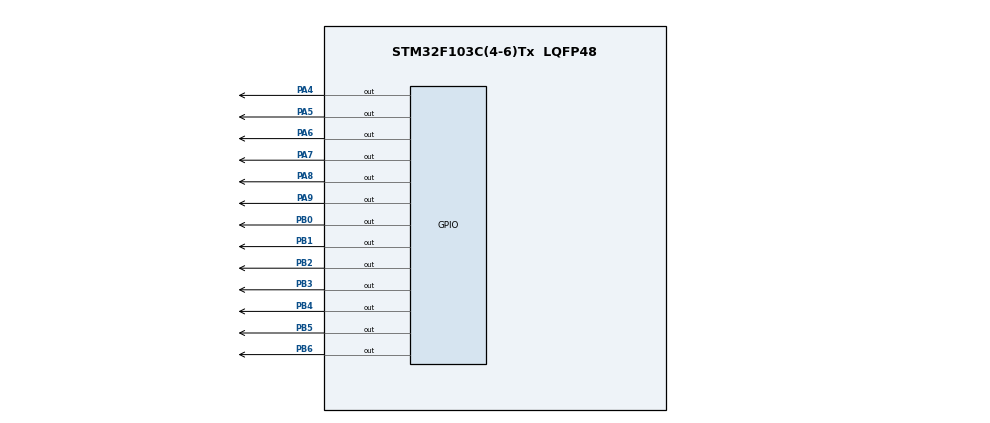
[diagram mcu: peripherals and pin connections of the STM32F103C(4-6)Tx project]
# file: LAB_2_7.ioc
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Mcu.Family=STM32F1
Mcu.Name=STM32F103C(4-6)Tx
Mcu.Package=LQFP48
NVIC.PriorityGroup=NVIC_PRIORITYGROUP_4
NVIC.TIM2_IRQn=true\:0\:0\:false\:false\:true\:true\:true
PA4.Signal=GPIO_Output
PA5.Signal=GPIO_Output
PA6.PinState=GPIO_PIN_SET
PA6.Signal=GPIO_Output
PA7.PinState=GPIO_PIN_SET
PA7.Signal=GPIO_Output
PA8.PinState=GPIO_PIN_SET
PA8.Signal=GPIO_Output
PA9.PinState=GPIO_PIN_SET
PA9.Signal=GPIO_Output
PB0.Signal=GPIO_Output
PB1.Signal=GPIO_Output
PB2.Signal=GPIO_Output
PB3.Signal=GPIO_Output
PB4.Signal=GPIO_Output
PB5.Signal=GPIO_Output
PB6.Signal=GPIO_Output
ProjectManager.HeapSize=0x200
ProjectManager.StackSize=0x400
ProjectManager.TargetToolchain=STM32CubeIDE
RCC.APB1Freq_Value=8000000
RCC.APB2Freq_Value=8000000
TIM2.Period=9
TIM2.Prescaler=7999
VP_SYS_VS_ND.Mode=No_Debug
VP_TIM2_VS_ClockSourceINT.Mode=Internal
board=custom

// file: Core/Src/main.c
/* USER CODE BEGIN Header */
/**
  ******************************************************************************
  * @file           : main.c
  * @brief          : Main program body for Lab 2 - Exercise 7
  ******************************************************************************
  */
/* USER CODE END Header */
#include "main.h"
#include "stm32f1xx_hal_tim.h"

TIM_HandleTypeDef htim2;

/* USER CODE BEGIN PV */
// Digital Clock Variables
int hour = 15;
int minute = 8;
int second = 50;

// Display Variables
const int MAX_LED = 4;
int index_led = 0;
int led_buffer[4] = {1, 5, 0, 8};

// Software Timer Variables
int timer0_counter = 0;
int timer0_flag = 0;
int TIMER_CYCLE = 10; // Hardware timer interrupt period (10ms)
/* USER CODE END PV */

void SystemClock_Config(void);
static void MX_GPIO_Init(void);
static void MX_TIM2_Init(void);

/* USER CODE BEGIN 0 */
// === Software Timer Functions ===
void setTimer0(int duration){
    timer0_counter = duration / TIMER_CYCLE;
    timer0_flag = 0;
}

void timer_run(){
    if(timer0_counter > 0){
        timer0_counter--;
        if(timer0_counter == 0) {
            timer0_flag = 1;
        }
    }
}
// ================================

void display7SEG(int num) {
    uint8_t segmentMap[10] = {0x40, 0x79, 0x24, 0x30, 0x19, 0x12, 0x02, 0x78, 0x00, 0x10};
    if (num < 0 || num > 9) return;
    uint8_t val = segmentMap[num];

    HAL_GPIO_WritePin(GPIOB, GPIO_PIN_0, (val >> 0) & 0x01);
    HAL_GPIO_WritePin(GPIOB, GPIO_PIN_1, (val >> 1) & 0x01);
    HAL_GPIO_WritePin(GPIOB, GPIO_PIN_2, (val >> 2) & 0x01);
    HAL_GPIO_WritePin(GPIOB, GPIO_PIN_3, (val >> 3) & 0x01);
    HAL_GPIO_WritePin(GPIOB, GPIO_PIN_4, (val >> 4) & 0x01);
    HAL_GPIO_WritePin(GPIOB, GPIO_PIN_5, (val >> 5) & 0x01);
    HAL_GPIO_WritePin(GPIOB, GPIO_PIN_6, (val >> 6) & 0x01);
}

void update7SEG(int index) {
    // Turn OFF all Enable pins first to prevent ghosting (PA6 to PA9 High)
    HAL_GPIO_WritePin(GPIOA, GPIO_PIN_6 | GPIO_PIN_7 | GPIO_PIN_8 | GPIO_PIN_9, GPIO_PIN_SET);

    // Output the data and turn ON the specific transistor (Low)
    switch (index) {
        case 0:
            display7SEG(led_buffer[0]);
            HAL_GPIO_WritePin(GPIOA, GPIO_PIN_6, GPIO_PIN_RESET);
            break;
        case 1:
            display7SEG(led_buffer[1]);
            HAL_GPIO_WritePin(GPIOA, GPIO_PIN_7, GPIO_PIN_RESET);
            break;
        case 2:
            display7SEG(led_buffer[2]);
            HAL_GPIO_WritePin(GPIOA, GPIO_PIN_8, GPIO_PIN_RESET);
            break;
        case 3:
            display7SEG(led_buffer[3]);
            HAL_GPIO_WritePin(GPIOA, GPIO_PIN_9, GPIO_PIN_RESET);
            break;
    }
}

void updateClockBuffer() {
    led_buffer[0] = hour / 10;
    led_buffer[1] = hour % 10;
    led_buffer[2] = minute / 10;
    led_buffer[3] = minute % 10;
}
/* USER CODE END 0 */

int main(void)
{
  HAL_Init();
  SystemClock_Config();
  MX_GPIO_Init();
  MX_TIM2_Init();

  /* USER CODE BEGIN 2 */
  HAL_TIM_Base_Start_IT(&htim2);

  // Initialize the software timer for 1000ms (1 second)
  setTimer0(1000);
  /* USER CODE END 2 */

  /* Infinite loop */
  while (1)
  {
      /* USER CODE BEGIN WHILE */

      // Execute only when the 1-second software timer flag is triggered
      if (timer0_flag == 1) {

          // 1. Update clock values
          second++;
          if (second >= 60){
              second = 0;
              minute++;
          }
          if(minute >= 60){
              minute = 0;
              hour++;
          }
          if(hour >= 24){
              hour = 0;
          }

          // 2. Update the display buffer
          updateClockBuffer();

          // 3. Toggle the DOT LED (PA4) and D1 LED (PA5) directly in the main function
          HAL_GPIO_TogglePin(GPIOA, GPIO_PIN_4 | GPIO_PIN_5);

          // 4. Reset the software timer for the next 1-second interval
          setTimer0(1000);
      }

      // Note: HAL_Delay(1000) is completely removed.

      /* USER CODE END WHILE */
  }
}

void SystemClock_Config(void)
{
  RCC_OscInitTypeDef RCC_OscInitStruct = {0};
  RCC_ClkInitTypeDef RCC_ClkInitStruct = {0};

  RCC_OscInitStruct.OscillatorType = RCC_OSCILLATORTYPE_HSI;
  RCC_OscInitStruct.HSIState = RCC_HSI_ON;
  RCC_OscInitStruct.HSICalibrationValue = RCC_HSICALIBRATION_DEFAULT;
  RCC_OscInitStruct.PLL.PLLState = RCC_PLL_NONE;
  if (HAL_RCC_OscConfig(&RCC_OscInitStruct) != HAL_OK)
  {
    Error_Handler();
  }
  RCC_ClkInitStruct.ClockType = RCC_CLOCKTYPE_HCLK|RCC_CLOCKTYPE_SYSCLK
                              |RCC_CLOCKTYPE_PCLK1|RCC_CLOCKTYPE_PCLK2;
  RCC_ClkInitStruct.SYSCLKSource = RCC_SYSCLKSOURCE_HSI;
  RCC_ClkInitStruct.AHBCLKDivider = RCC_SYSCLK_DIV1;
  RCC_ClkInitStruct.APB1CLKDivider = RCC_HCLK_DIV1;
  RCC_ClkInitStruct.APB2CLKDivider = RCC_HCLK_DIV1;

  if (HAL_RCC_ClockConfig(&RCC_ClkInitStruct, FLASH_LATENCY_0) != HAL_OK)
  {
    Error_Handler();
  }
}

static void MX_TIM2_Init(void)
{
  TIM_ClockConfigTypeDef sClockSourceConfig = {0};
  TIM_MasterConfigTypeDef sMasterConfig = {0};

  htim2.Instance = TIM2;
  htim2.Init.Prescaler = 7999;
  htim2.Init.CounterMode = TIM_COUNTERMODE_UP;
  // Period = 9 creates a precise 10ms hardware interrupt base
  htim2.Init.Period = 9;
  htim2.Init.ClockDivision = TIM_CLOCKDIVISION_DIV1;
  htim2.Init.AutoReloadPreload = TIM_AUTORELOAD_PRELOAD_ENABLE;
  if (HAL_TIM_Base_Init(&htim2) != HAL_OK)
  {
    Error_Handler();
  }
  sClockSourceConfig.ClockSource = TIM_CLOCKSOURCE_INTERNAL;
  if (HAL_TIM_ConfigClockSource(&htim2, &sClockSourceConfig) != HAL_OK)
  {
    Error_Handler();
  }
  sMasterConfig.MasterOutputTrigger = TIM_TRGO_RESET;
  sMasterConfig.MasterSlaveMode = TIM_MASTERSLAVEMODE_DISABLE;
  if (HAL_TIMEx_MasterConfigSynchronization(&htim2, &sMasterConfig) != HAL_OK)
  {
    Error_Handler();
  }
}

static void MX_GPIO_Init(void)
{
  GPIO_InitTypeDef GPIO_InitStruct = {0};

  __HAL_RCC_GPIOA_CLK_ENABLE();
  __HAL_RCC_GPIOB_CLK_ENABLE();

  /* Set initial states: PA4 and PA5 LOW, PA6-PA9 HIGH (Transistors OFF) to prevent 0088 glitch */
  HAL_GPIO_WritePin(GPIOA, GPIO_PIN_4 | GPIO_PIN_5, GPIO_PIN_RESET);
  HAL_GPIO_WritePin(GPIOA, GPIO_PIN_6|GPIO_PIN_7|GPIO_PIN_8|GPIO_PIN_9, GPIO_PIN_SET);
  HAL_GPIO_WritePin(GPIOB, GPIO_PIN_0|GPIO_PIN_1|GPIO_PIN_2|GPIO_PIN_3
                          |GPIO_PIN_4|GPIO_PIN_5|GPIO_PIN_6, GPIO_PIN_RESET);

  GPIO_InitStruct.Pin = GPIO_PIN_4 | GPIO_PIN_5 | GPIO_PIN_6 | GPIO_PIN_7 | GPIO_PIN_8 | GPIO_PIN_9;
  GPIO_InitStruct.Mode = GPIO_MODE_OUTPUT_PP;
  GPIO_InitStruct.Pull = GPIO_NOPULL;
  GPIO_InitStruct.Speed = GPIO_SPEED_FREQ_LOW;
  HAL_GPIO_Init(GPIOA, &GPIO_InitStruct);

  GPIO_InitStruct.Pin = GPIO_PIN_0|GPIO_PIN_1|GPIO_PIN_2|GPIO_PIN_3
                          |GPIO_PIN_4|GPIO_PIN_5|GPIO_PIN_6;
  GPIO_InitStruct.Mode = GPIO_MODE_OUTPUT_PP;
  GPIO_InitStruct.Pull = GPIO_NOPULL;
  GPIO_InitStruct.Speed = GPIO_SPEED_FREQ_LOW;
  HAL_GPIO_Init(GPIOB, &GPIO_InitStruct);
}

/* USER CODE BEGIN 4 */
void HAL_TIM_PeriodElapsedCallback(TIM_HandleTypeDef *htim)
{
    if(htim->Instance == TIM2)
    {
        // 1. Scan the next 7-segment display (Every 10ms)
        update7SEG(index_led++);
        if (index_led >= MAX_LED) {
            index_led = 0;
        }

        // 2. Decrement the software timer (Every 10ms)
        timer_run();
    }
}
/* USER CODE END 4 */

void Error_Handler(void)
{
  __disable_irq();
  while (1)
  {
  }
}
